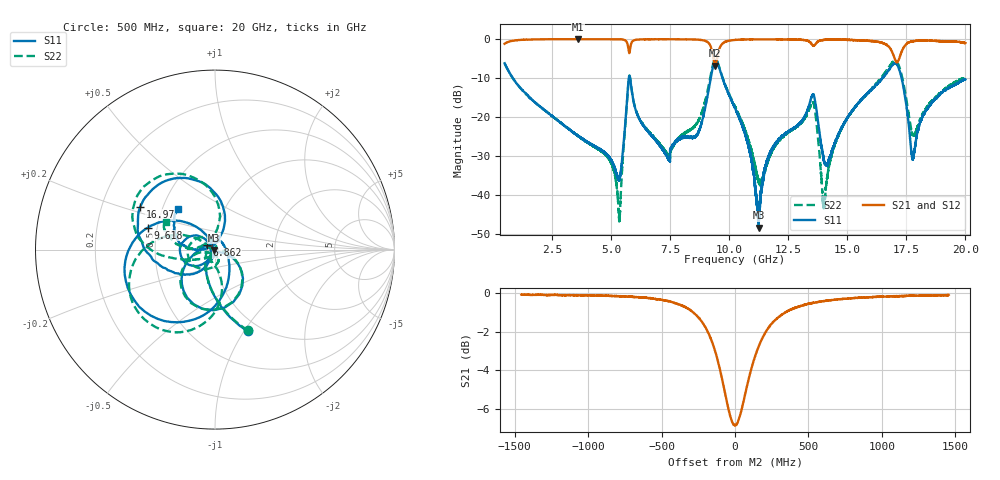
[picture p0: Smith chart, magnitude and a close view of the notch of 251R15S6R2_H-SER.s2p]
!{251R15S6R2}
!Johanson Technology Inc.
!www.johansontechnology.com
!Test Board Conditions:
!Substrate Type  RO4350B
!Substrate Thickness  20 mil
!Substrate Dk  3.66
!TL Type: GCPW
!TL Trace Width  34 mil
!TL Gap  10 mil
!Electrode orientation  Horizontal
!DUT TOPOLOGY	SERIES
!Mounting Pad LxW  26x52 mil
! Created Thu Mar 12 16:43:32 2020
# mhz S ma R 50
! 2 Port Network Data from SP1.SP block
! freq  magS11  angS11  magS21  angS21  magS12  angS12  magS22  angS22
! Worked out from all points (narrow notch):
!   19501 points, 500 MHz to 20 GHz, reference 50 ohm
!   highest |S21| = -0.04 dB at 3.605 GHz (marker M1); lowest = -6.9 dB at 9.414 GHz (marker M2)
!   notch at M2: 6.6 dB deep, 243 MHz wide at half that depth
!   lowest |S11| = -48.3 dB at 11.26 GHz (marker M3), VSWR 1.01, Z = 49.6 - j0.144 ohm
!   |S11| at or under -10 dB: 844 MHz to 5.757 GHz (4.913 GHz wide, 149 % of centre); 5.812 GHz to 9.224 GHz (3.412 GHz wide, 45.4 % of centre); 9.722 GHz to 16.49 GHz (6.769 GHz wide, 51.6 % of centre) (the widest 3 of 6)
!   |S22| runs from -46.7 to -5.1 dB; largest |S21 - S12| = 0.021
!   S11 on the Smith chart (normalised r, x): 500 MHz: 0.87, -1.04; 6.862 GHz: 0.91, +0.04; 9.618 GHz: 0.44, +0.13; 16.97 GHz: 0.37, +0.23; 20 GHz: 0.60, +0.30
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500  0.4884 -68.2  0.8683 21.8  0.8697 21.8  0.4869 -67.6
3605  0.05772 -123.6  0.9954 -48.5  0.9937 -48.6  0.05758 -150.2
3750  0.05385 -123.4  0.9932 -50.9  0.9941 -50.9  0.05331 -154.6
4946  0.03004 -123.8  0.993 -70.5  0.9929 -70.5  0.02821 170.4
5335  0.01559 -79.7  0.9903 -77.9  0.9894 -77.9  0.005605 113.6
5784  0.3392 -96.3  0.6668 -78.3  0.6666 -78.3  0.3394 -98.5
6862  0.05207 151.9  0.9904 -97.5  0.9916 -97.5  0.05315 -164.2
7000  0.04622 143.9  0.9908 -99.8  0.9914 -99.8  0.04776 -160.7
8632  0.05938 6.4  0.9802 -129.5  0.9789 -129.5  0.08238 -94.4
9414  0.5312 -146.2  0.4545 -136.2  0.4582 -136.1  0.5514 -134.5
9618  0.395 161.9  0.7861 -119.0  0.7897 -119.2  0.4039 -179.5
10250  0.13 125.2  0.9709 -141.0  0.9702 -141.1  0.1359 150.4
11255  0.003866 -158.0  0.9887 -160.2  0.9865 -160.2  0.01546 -157.8
11781  0.0376 -101.5  0.988 -169.2  0.9876 -169.1  0.03531 -78.1
13500  0.1846 -159.6  0.8569 159.1  0.8588 159.0  0.1519 -149.1
14025  0.02691 163.2  0.9695 157.9  0.9697 158.0  0.007471 -27.9
14765  0.0739 -116.8  0.9753 143.4  0.977 143.4  0.07075 -139.0
16750  0.3996 177.7  0.8032 98.6  0.7919 98.1  0.4328 171.2
16970  0.4806 150.3  0.6054 95.2  0.5948 95.2  0.5222 148.4
17779  0.02933 130.7  0.9336 107.9  0.9334 107.7  0.0589 122.6
18385  0.1268 177.9  0.9522 91.7  0.952 91.4  0.1361 177.6
20000  0.3031 132.5  0.8817 60.0  0.8797 60.1  0.3142 151.0
